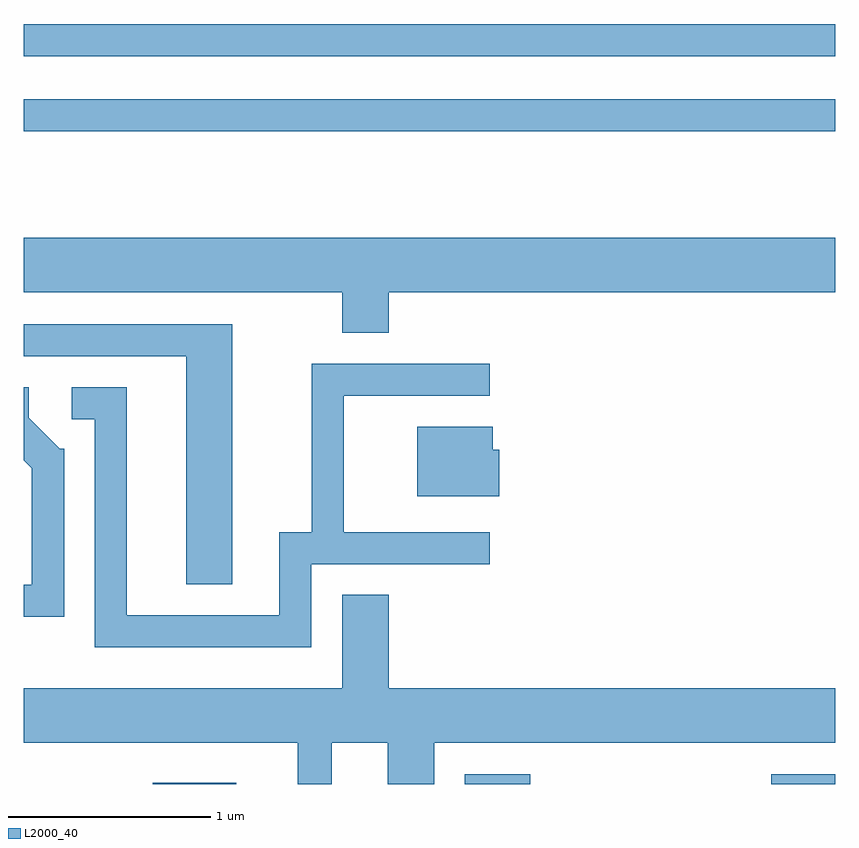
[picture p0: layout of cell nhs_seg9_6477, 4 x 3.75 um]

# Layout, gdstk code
import gdstk
lib = gdstk.Library(unit=1e-6, precision=1e-09)
def R(c, l, rs):  # rectangles x0, y0, x1, y1
    for r in rs: c.add(gdstk.rectangle(r[:2], r[2:], *l))
def P(c, l, *ps):  # polygons
    for p in ps: c.add(gdstk.Polygon(p, *l))
L2000_40 = (2000, 40)

nhs_seg9_6477 = lib.new_cell('nhs_seg9_6477')
R(nhs_seg9_6477, L2000_40, [(376.246,2060.432,376.659,2060.439), (377.786,2060.432,378.108,2060.479), (379.296,2060.432,379.611,2060.479), (375.611,2063.651,379.611,2063.809), (375.611,2064.021,379.611,2064.179)])
P(nhs_seg9_6477, L2000_40, [(375.611,2062.856),(377.181,2062.856),(377.181,2062.656),(377.409,2062.656),(377.409,2062.856),(379.611,2062.856),(379.611,2063.124),(375.611,2063.124)],
  [(376.639,2062.699),(375.611,2062.699),(375.611,2062.541),(376.411,2062.541),(376.411,2061.416),(376.639,2061.416)],
  [(377.029,2061.516),(377.908,2061.516),(377.908,2061.674),(377.189,2061.674),(377.189,2062.346),(377.908,2062.346),(377.908,2062.504),(377.031,2062.504),(377.031,2061.674),(376.871,2061.674),(376.871,2061.264),(376.119,2061.264),(376.119,2062.389),(375.848,2062.389),(375.848,2062.231),(375.961,2062.231),(375.961,2061.106),(377.029,2061.106)],
  [(375.809,2062.084),(375.787,2062.084),(375.634,2062.237),(375.634,2062.389),(375.611,2062.389),(375.611,2062.029),(375.651,2061.989),(375.651,2061.414),(375.611,2061.414),(375.611,2061.256),(375.809,2061.256)],
  [(377.954,2062.079),(377.924,2062.079),(377.924,2062.194),(377.551,2062.194),(377.551,2061.851),(377.954,2061.851)],
  [(377.181,2060.904),(375.611,2060.904),(375.611,2060.636),(376.961,2060.636),(376.961,2060.432),(377.129,2060.432),(377.129,2060.636),(377.406,2060.636),(377.406,2060.432),(377.634,2060.432),(377.634,2060.636),(379.611,2060.636),(379.611,2060.904),(377.409,2060.904),(377.409,2061.364),(377.181,2061.364)])

lib.write_gds('nhs_seg9_6477.gds')
